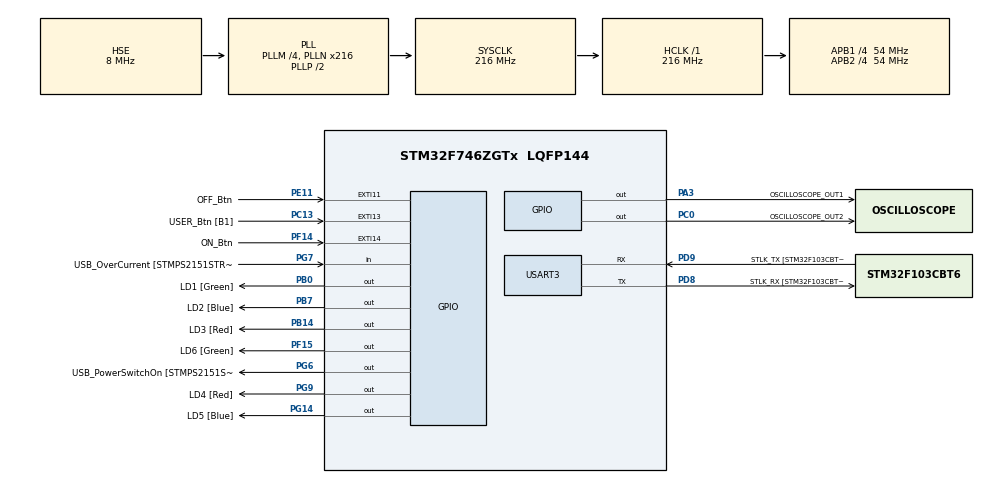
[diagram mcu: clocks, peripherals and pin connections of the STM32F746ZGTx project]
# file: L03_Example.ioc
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Mcu.Family=STM32F7
Mcu.Name=STM32F746ZGTx
Mcu.Package=LQFP144
NVIC.EXTI15_10_IRQn=true\:0\:0\:false\:false\:true\:true\:true\:true
NVIC.PriorityGroup=NVIC_PRIORITYGROUP_4
NVIC.TIM2_IRQn=true\:0\:0\:false\:false\:true\:true\:true\:true
NVIC.USART3_IRQn=true\:0\:0\:false\:false\:true\:true\:true\:true
PA1.GPIO_Label=RMII_REF_CLK [LAN8742A-CZ-TR_REFCLK0]
PA1.Signal=ETH_REF_CLK
PA10.GPIO_Label=USB_ID
PA10.Signal=USB_OTG_FS_ID
PA11.GPIO_Label=USB_DM
PA11.Signal=USB_OTG_FS_DM
PA12.GPIO_Label=USB_DP
PA12.Signal=USB_OTG_FS_DP
PA13.GPIO_Label=TMS
PA13.Mode=Serial_Wire
PA13.Signal=SYS_JTMS-SWDIO
PA14.GPIO_Label=TCK
PA14.Mode=Serial_Wire
PA14.Signal=SYS_JTCK-SWCLK
PA2.GPIO_Label=RMII_MDIO [LAN8742A-CZ-TR_MDIO]
PA2.Signal=ETH_MDIO
PA3.GPIO_Label=OSCILLOSCOPE_OUT1
PA3.GPIO_Speed=GPIO_SPEED_FREQ_VERY_HIGH
PA3.Signal=GPIO_Output
PA7.GPIO_Label=RMII_CRS_DV [LAN8742A-CZ-TR_CRS_DV]
PA7.Signal=ETH_CRS_DV
PA8.GPIO_Label=USB_SOF [TP1]
PA8.Signal=USB_OTG_FS_SOF
PA9.GPIO_Label=USB_VBUS
PA9.Signal=USB_OTG_FS_VBUS
PB0.GPIO_Label=LD1 [Green]
PB0.Signal=GPIO_Output
PB13.GPIO_Label=RMII_TXD1 [LAN8742A-CZ-TR_TXD1]
PB13.Signal=ETH_TXD1
PB14.GPIO_Label=LD3 [Red]
PB14.Signal=GPIO_Output
PB3.GPIO_Label=SW0
PB3.Signal=SYS_JTDO-SWO
PB7.GPIO_Label=LD2 [Blue]
PB7.Signal=GPIO_Output
PC0.GPIO_Label=OSCILLOSCOPE_OUT2
PC0.GPIO_Speed=GPIO_SPEED_FREQ_VERY_HIGH
PC0.Signal=GPIO_Output
PC1.GPIO_Label=RMII_MDC [LAN8742A-CZ-TR_MDC]
PC1.Signal=ETH_MDC
PC13.GPIO_Label=USER_Btn [B1]
PC13.Signal=GPXTI13
PC14/OSC32_IN.Mode=LSE-External-Oscillator
PC14/OSC32_IN.Signal=RCC_OSC32_IN
PC15/OSC32_OUT.Mode=LSE-External-Oscillator
PC15/OSC32_OUT.Signal=RCC_OSC32_OUT
PC4.GPIO_Label=RMII_RXD0 [LAN8742A-CZ-TR_RXD0]
PC4.Signal=ETH_RXD0
PC5.GPIO_Label=RMII_RXD1 [LAN8742A-CZ-TR_RXD1]
PC5.Signal=ETH_RXD1
PD8.GPIO_Label=STLK_RX [STM32F103CBT6_PA3]
PD8.GPIO_PuPd=GPIO_PULLUP
PD8.Mode=Asynchronous
PD8.Signal=USART3_TX
PD9.GPIO_Label=STLK_TX [STM32F103CBT6_PA2]
PD9.GPIO_PuPd=GPIO_PULLUP
PD9.Mode=Asynchronous
PD9.Signal=USART3_RX
PE11.GPIO_Label=OFF_Btn
PE11.GPIO_PuPd=GPIO_PULLDOWN
PE11.Signal=GPXTI11
PF14.GPIO_Label=ON_Btn
PF14.GPIO_ModeDefaultEXTI=GPIO_MODE_IT_FALLING
PF14.GPIO_PuPd=GPIO_PULLUP
PF14.Signal=GPXTI14
PF15.GPIO_Label=LD6 [Green]
PF15.Signal=GPIO_Output
PG11.GPIO_Label=RMII_TX_EN [LAN8742A-CZ-TR_TXEN]
PG11.Signal=ETH_TX_EN
PG13.GPIO_Label=RMII_TXD0 [LAN8742A-CZ-TR_TXD0]
PG13.Signal=ETH_TXD0
PG14.GPIO_Label=LD5 [Blue]
PG14.Signal=GPIO_Output
PG6.GPIO_Label=USB_PowerSwitchOn [STMPS2151STR_EN]
PG6.Signal=GPIO_Output
PG7.GPIO_Label=USB_OverCurrent [STMPS2151STR_FAULT]
PG7.Signal=GPIO_Input
PG9.GPIO_Label=LD4 [Red]
PG9.Signal=GPIO_Output
PH0/OSC_IN.GPIO_Label=MCO [STM32F103CBT6_PA8]
PH0/OSC_IN.Mode=HSE-External-Clock-Source
PH0/OSC_IN.Signal=RCC_OSC_IN
PH1/OSC_OUT.Mode=HSE-External-Clock-Source
PH1/OSC_OUT.Signal=RCC_OSC_OUT
ProjectManager.HeapSize=0x200
ProjectManager.StackSize=0x400
ProjectManager.TargetToolchain=STM32CubeIDE
RCC.48MHZClocksFreq_Value=24000000
RCC.AHBFreq_Value=216000000
RCC.APB1CLKDivider=RCC_HCLK_DIV4
RCC.APB1Freq_Value=54000000
RCC.APB1TimFreq_Value=108000000
RCC.APB2CLKDivider=RCC_HCLK_DIV4
RCC.APB2Freq_Value=54000000
RCC.APB2TimFreq_Value=108000000
RCC.CortexFreq_Value=216000000
RCC.HCLKFreq_Value=216000000
RCC.HSE_VALUE=8000000
RCC.HSI_VALUE=16000000
RCC.PLLM=4
RCC.PLLMUL=RCC_PLL_MUL9
RCC.PLLN=216
RCC.PLLQ=3
RCC.PLLSourceVirtual=RCC_PLLSOURCE_HSE
RCC.PRESCALERUSB=RCC_USBCLKSOURCE_PLL_DIV1_5
RCC.SYSCLKFreq_VALUE=216000000
RCC.SYSCLKSource=RCC_SYSCLKSOURCE_PLLCLK
RCC.SYSCLKSourceVirtual=RCC_SYSCLKSOURCE_PLLCLK
RCC.USBFreq_Value=144000000
RCC.VCOOutputFreq_Value=432000000
TIM2.Period=4999
TIM2.Prescaler=107
TIM7.Period=99
TIM7.Prescaler=107
USART3.VirtualMode-Asynchronous=VM_ASYNC
VP_TIM2_VS_ClockSourceINT.Mode=Internal
VP_TIM7_VS_ClockSourceINT.Mode=Enable_Timer
board=NUCLEO-F746ZG

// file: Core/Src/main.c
/* USER CODE BEGIN Header */
/**
  ******************************************************************************
  * @file           : main.c
  * @brief          : Main program body
  ******************************************************************************
  * @attention
  *
  * Copyright (c) 2023 STMicroelectronics.
  * All rights reserved.
  *
  * This software is licensed under terms that can be found in the LICENSE file
  * in the root directory of this software component.
  * If no LICENSE file comes with this software, it is provided AS-IS.
  *
  ******************************************************************************
  */
/* USER CODE END Header */
#include "main.h"
#include "tim.h"
#include "usart.h"
#include "gpio.h"

/* USER CODE BEGIN Includes */
#include <stdlib.h>
/* USER CODE END Includes */

/* USER CODE BEGIN PV */
_Bool VarBtn = 0, VarPulse = 0;;

uint8_t tx_buffer[8];
const int tx_msg_len = 4;
/* USER CODE END PV */

void SystemClock_Config(void);

/* USER CODE BEGIN 0 */

/**
  * @brief  Period elapsed callback in non-blocking mode
  * @param  htim TIM handle
  * @retval None
  */
void HAL_TIM_PeriodElapsedCallback(TIM_HandleTypeDef *htim)
{
  if(htim == &htim2)
  {
	VarBtn = 0;   // for software tools
	HAL_GPIO_WritePin(OSCILLOSCOPE_OUT2_GPIO_Port, OSCILLOSCOPE_OUT2_Pin, GPIO_PIN_RESET); // for hardware tools (oscilloscope)
	VarPulse = 1; // for software tools
	HAL_GPIO_WritePin(OSCILLOSCOPE_OUT1_GPIO_Port, OSCILLOSCOPE_OUT1_Pin, GPIO_PIN_SET); // for hardware tools (oscilloscope)

	HAL_TIM_Base_Start(&htim7);
    while(__HAL_TIM_GET_FLAG(&htim7, TIM_FLAG_UPDATE) == 0);
    __HAL_TIM_CLEAR_FLAG(&htim7, TIM_FLAG_UPDATE);
    HAL_TIM_Base_Stop(&htim7);

    VarPulse = 0; // for software tools
	HAL_GPIO_WritePin(OSCILLOSCOPE_OUT1_GPIO_Port, OSCILLOSCOPE_OUT1_Pin, GPIO_PIN_RESET); // for hardware tools (oscilloscope)

	HAL_TIM_Base_Stop_IT(&htim2);
  }
}

/**
  * @brief  Rx Transfer completed callback.
  * @param  huart UART handle.
  * @retval None
  */
void HAL_UART_RxCpltCallback(UART_HandleTypeDef *huart)
{
  if(huart == &huart3)
  {
    int time_ms = strtol((char*)tx_buffer, 0, 10);
    int tim3_arr = time_ms*1000 - 1;

    __HAL_TIM_SET_AUTORELOAD(&htim2, tim3_arr);

    HAL_UART_Receive_IT(&huart3, tx_buffer, tx_msg_len);
  }
}

/**
  * @brief  EXTI line detection callbacks.
  * @param  GPIO_Pin Specifies the pins connected EXTI line
  * @retval None
  */
void HAL_GPIO_EXTI_Callback(uint16_t GPIO_Pin)
{
  if(GPIO_Pin == USER_Btn_Pin)
  {
	VarBtn = 1;   // for software tools
	HAL_GPIO_WritePin(OSCILLOSCOPE_OUT2_GPIO_Port, OSCILLOSCOPE_OUT2_Pin, GPIO_PIN_SET); // for hardware tools (oscilloscope)
	HAL_TIM_Base_Start_IT(&htim2);
  }
}

/* USER CODE END 0 */

int main(void)
{

  /* MCU Configuration--------------------------------------------------------*/

  /* Reset of all peripherals, Initializes the Flash interface and the Systick. */
  HAL_Init();

  /* Configure the system clock */
  SystemClock_Config();

  /* Initialize all configured peripherals */
  MX_GPIO_Init();
  MX_USART3_UART_Init();
  MX_TIM2_Init();
  MX_TIM7_Init();
  /* USER CODE BEGIN 2 */
  HAL_UART_Receive_IT(&huart3, tx_buffer, tx_msg_len);
  /* USER CODE END 2 */

  /* Infinite loop */
  while (1)
  {

  }
}

void SystemClock_Config(void)
{
  RCC_OscInitTypeDef RCC_OscInitStruct = {0};
  RCC_ClkInitTypeDef RCC_ClkInitStruct = {0};

  /** Configure LSE Drive Capability
  */
  HAL_PWR_EnableBkUpAccess();

  /** Configure the main internal regulator output voltage
  */
  __HAL_RCC_PWR_CLK_ENABLE();
  __HAL_PWR_VOLTAGESCALING_CONFIG(PWR_REGULATOR_VOLTAGE_SCALE1);

  /** Initializes the RCC Oscillators according to the specified parameters
  * in the RCC_OscInitTypeDef structure.
  */
  RCC_OscInitStruct.OscillatorType = RCC_OSCILLATORTYPE_HSE;
  RCC_OscInitStruct.HSEState = RCC_HSE_BYPASS;
  RCC_OscInitStruct.PLL.PLLState = RCC_PLL_ON;
  RCC_OscInitStruct.PLL.PLLSource = RCC_PLLSOURCE_HSE;
  RCC_OscInitStruct.PLL.PLLM = 4;
  RCC_OscInitStruct.PLL.PLLN = 216;
  RCC_OscInitStruct.PLL.PLLP = RCC_PLLP_DIV2;
  RCC_OscInitStruct.PLL.PLLQ = 3;
  if (HAL_RCC_OscConfig(&RCC_OscInitStruct) != HAL_OK)
  {
    Error_Handler();
  }

  /** Activate the Over-Drive mode
  */
  if (HAL_PWREx_EnableOverDrive() != HAL_OK)
  {
    Error_Handler();
  }

  /** Initializes the CPU, AHB and APB buses clocks
  */
  RCC_ClkInitStruct.ClockType = RCC_CLOCKTYPE_HCLK|RCC_CLOCKTYPE_SYSCLK
                              |RCC_CLOCKTYPE_PCLK1|RCC_CLOCKTYPE_PCLK2;
  RCC_ClkInitStruct.SYSCLKSource = RCC_SYSCLKSOURCE_PLLCLK;
  RCC_ClkInitStruct.AHBCLKDivider = RCC_SYSCLK_DIV1;
  RCC_ClkInitStruct.APB1CLKDivider = RCC_HCLK_DIV4;
  RCC_ClkInitStruct.APB2CLKDivider = RCC_HCLK_DIV4;

  if (HAL_RCC_ClockConfig(&RCC_ClkInitStruct, FLASH_LATENCY_7) != HAL_OK)
  {
    Error_Handler();
  }
}

void Error_Handler(void)
{
  __disable_irq();
  while (1)
  {
  }
}
